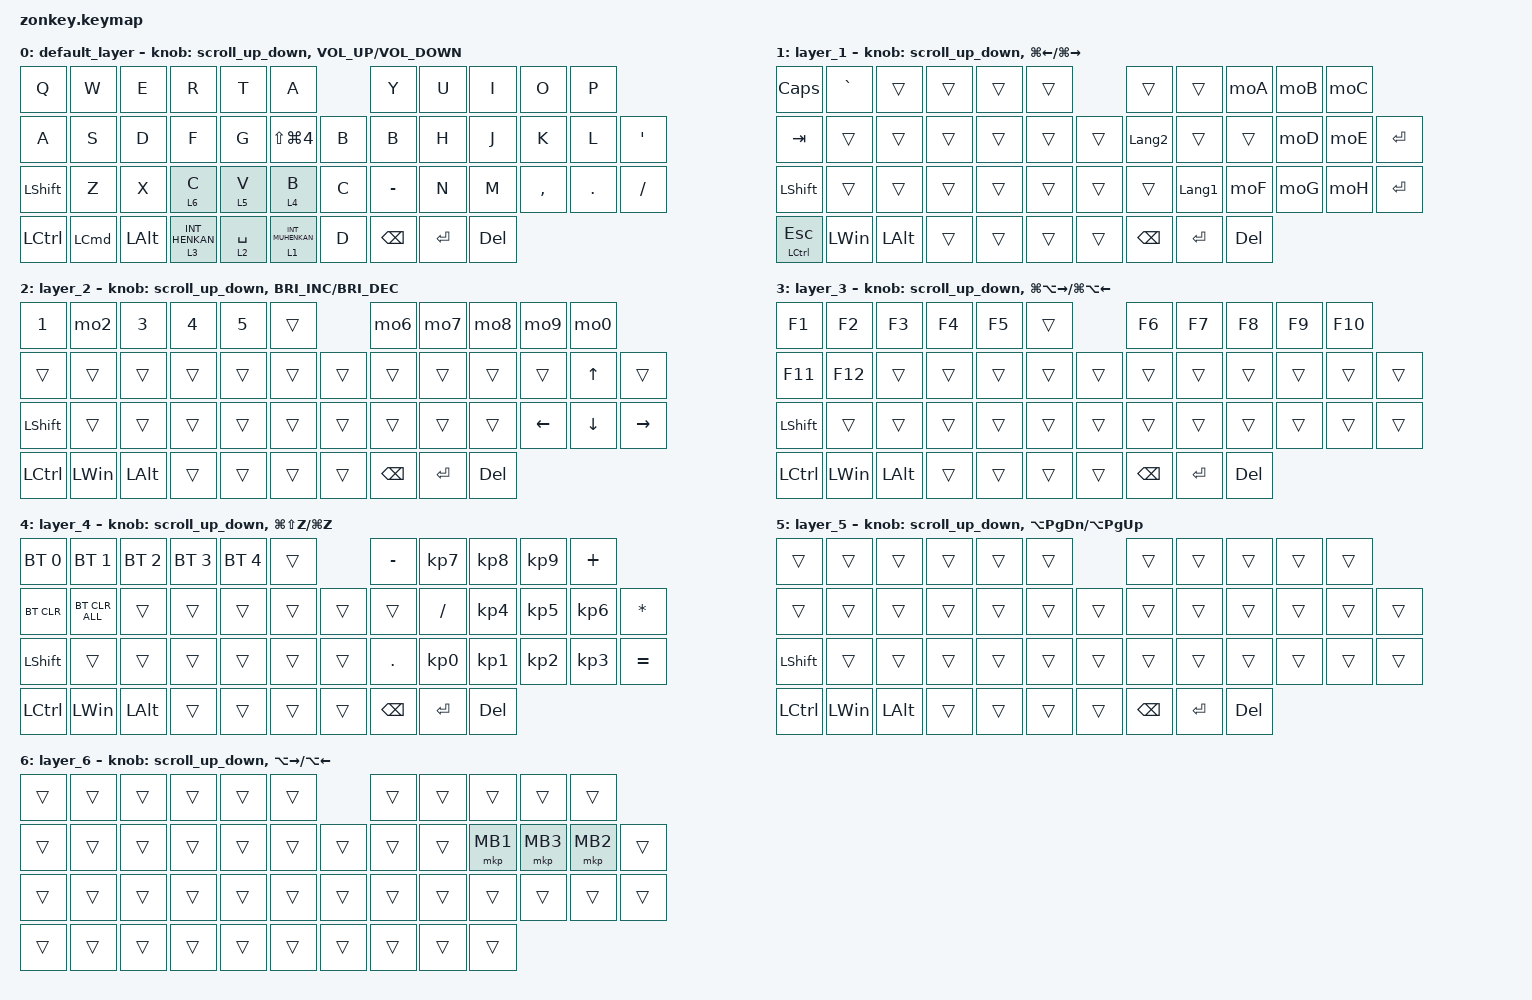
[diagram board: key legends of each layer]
#include <behaviors.dtsi>
#include <dt-bindings/zmk/bt.h>
#include <dt-bindings/zmk/keys.h>
#include <dt-bindings/zmk/pointing.h>

#define ZMK_POINTING_DEFAULT_SCRL_VAL 100
#define MOUSE 6
#define JP_DQUOTE       AT                // "
#define JP_AMPERSAND    CARET             // &
#define JP_QUOTE        AMPERSAND         // '
#define JP_EQUAL        UNDER             // =
#define JP_CARET        EQUAL             // ^
#define JP_YEN          0x89              // ¥
#define JP_PLUS         COLON             // +
#define JP_TILDE        PLUS              // ~
#define JP_PIPE         LS(0x89)          // |
#define JP_AT           LEFT_BRACKET      // @
#define JP_COLON        SINGLE_QUOTE      // :
#define JP_ASTERISK     DOUBLE_QUOTES     // *
#define JP_BACKQUOTE    LEFT_BRACE        // `
#define JP_UNDERSCORE   LS(0x87)          // _
#define JP_LBRACKET     RIGHT_BRACKET     // [
#define JP_RBRACKET     BACKSLASH         // ]
#define JP_LPAREN       ASTERISK          // (
#define JP_RPAREN       LEFT_PARENTHESIS  // )
#define JP_LBRACE       RIGHT_BRACE       // {
#define JP_RBRACE       PIPE              // }
#define JP_KANA         LANGUAGE_1        // かな
#define JP_EISU         LANGUAGE_2        // 英数
#define JP_HANZEN       GRAVE             // 半角/全角
#define JP_BSLH  INT1         // (backslash)

&mt {
    flavor = "balanced";
    quick-tap-ms = <0>;
};

/ {
    combos { compatible = "zmk,combos"; };

    mo2: mo2 {
        compatible = "zmk,behavior-mod-morph";
        #binding-cells = <0>;
        bindings = <&kp N2>, <&kp AT>;

        mods = <(MOD_LSFT|MOD_RSFT)>;
    };

    mo6: mo6 {
        compatible = "zmk,behavior-mod-morph";
        #binding-cells = <0>;
        bindings = <&kp N6>, <&kp CARET>;

        mods = <(MOD_LSFT|MOD_RSFT)>;
    };

    mo7: mo7 {
        compatible = "zmk,behavior-mod-morph";
        #binding-cells = <0>;
        bindings = <&kp N7>, <&kp AMPS>;

        mods = <(MOD_LSFT|MOD_RSFT)>;
    };

    mo8: mo8 {
        compatible = "zmk,behavior-mod-morph";
        #binding-cells = <0>;
        bindings = <&kp N8>, <&kp ASTRK>;

        mods = <(MOD_LSFT|MOD_RSFT)>;
    };

    mo9: mo9 {
        compatible = "zmk,behavior-mod-morph";
        #binding-cells = <0>;
        bindings = <&kp N9>, <&kp LPAR>;

        mods = <(MOD_LSFT|MOD_RSFT)>;
    };

    mo0: mo0 {
        compatible = "zmk,behavior-mod-morph";
        #binding-cells = <0>;
        bindings = <&kp N0>, <&kp LS(N9)>;

        mods = <(MOD_LSFT|MOD_RSFT)>;
    };

    moA: moA {
        compatible = "zmk,behavior-mod-morph";
        #binding-cells = <0>;
        bindings = <&kp MINUS>, <&kp UNDERSCORE>;

        mods = <(MOD_LSFT|MOD_RSFT)>;
    };

    moB: moB {
        compatible = "zmk,behavior-mod-morph";
        #binding-cells = <0>;
        bindings = <&kp EQUAL>, <&kp PLUS>;

        mods = <(MOD_LSFT|MOD_RSFT)>;
    };

    moC: moC {
        compatible = "zmk,behavior-mod-morph";
        #binding-cells = <0>;
        bindings = <&kp INT3>, <&kp JP_PIPE>;

        mods = <(MOD_LSFT|MOD_RSFT)>;
    };

    moD: moD {
        compatible = "zmk,behavior-mod-morph";
        #binding-cells = <0>;
        bindings = <&kp LBKT>, <&kp LBRC>;

        mods = <(MOD_LSFT|MOD_RSFT)>;
    };

    moE: moE {
        compatible = "zmk,behavior-mod-morph";
        #binding-cells = <0>;
        bindings = <&kp RBKT>, <&kp RBRC>;

        mods = <(MOD_LSFT|MOD_RSFT)>;
    };

    moF: moF {
        compatible = "zmk,behavior-mod-morph";
        #binding-cells = <0>;
        bindings = <&kp SEMI>, <&kp KP_PLUS>;

        mods = <(MOD_LSFT|MOD_RSFT)>;
    };

    moG: moG {
        compatible = "zmk,behavior-mod-morph";
        #binding-cells = <0>;
        bindings = <&kp APOSTROPHE>, <&kp DQT>;

        mods = <(MOD_LSFT|MOD_RSFT)>;
    };

    moH: moH {
        compatible = "zmk,behavior-mod-morph";
        #binding-cells = <0>;
        bindings = <&kp BACKSLASH>, <&kp TILDE2>;

        mods = <(MOD_LSFT|MOD_RSFT)>;
    };

    moI: moI {
        compatible = "zmk,behavior-mod-morph";
        #binding-cells = <0>;
        bindings = <&kp JP_BSLH>, <&kp JP_UNDERSCORE>;

        mods = <(MOD_LSFT|MOD_RSFT)>;
    };

    macros {
        to_layer_0: to_layer_0 {
            compatible = "zmk,behavior-macro-one-param";
            #binding-cells = <1>;
            bindings = <&to 0 &macro_param_1to1 &kp MACRO_PLACEHOLDER>;
            label = "TO_LAYER_0";
        };
    };

    behaviors {
        lt_to_layer_0: lt_to_layer_0 {
            compatible = "zmk,behavior-hold-tap";
            label = "LAYER_TAP_TO_0";
            bindings = <&mo>, <&to_layer_0>;

            #binding-cells = <2>;
            tapping-term-ms = <200>;
        };

        scroll_up_down: behavior_sensor_rotate_mouse_wheel_up_down {
            compatible = "zmk,behavior-sensor-rotate";
            #sensor-binding-cells = <0>;
            bindings = <&msc SCRL_DOWN>, <&msc SCRL_UP>;

            tap-ms = <20>;
        };
    };

    keymap {
        compatible = "zmk,keymap";

        default_layer {
            bindings = <
&kp Q           &kp W             &kp E         &kp R             &kp T        &kp A                        &kp Y          &kp U      &kp I    &kp O      &kp P
&kp A           &kp S             &kp D         &kp F             &kp G        &kp LS(LG(NUMBER_4))  &kp B  &kp B          &kp H      &kp J    &kp K      &kp L    &kp SQT
&kp LEFT_SHIFT  &kp Z             &kp X         &lt 6 C           &lt 5 V      &lt 4 B               &kp C  &kp MINUS      &kp N      &kp M    &kp COMMA  &kp DOT  &kp SLASH
&kp LCTRL       &kp LEFT_COMMAND  &kp LEFT_ALT  &lt 3 INT_HENKAN  &lt 2 SPACE  &lt 1 INT_MUHENKAN    &kp D  &kp BACKSPACE  &kp ENTER  &kp DEL
            >;

            sensor-bindings =
                <&scroll_up_down>,
                <&inc_dec_kp C_VOLUME_UP C_VOLUME_DOWN>;
        };

        layer_1 {
            // -----------------------------------------------------------------------------------------
            // |CAPS　| 　　|     |     |                    　　　　　　 |     |     |  -  |  ^  |  ¥  |
            // | TAB |     |     |     |     |     |              |    |     |     |     |  @  |  [  |
            // |SHIFT|     |     |     |     |     |           　 | 英数 | かな |    |  ; |  :  |  ]  |
            // | CTRL| WIN | ALT |HENKAN|SPACE|MUHENKAN|         | BS | ENT |                   | DEL |

            bindings = <
&kp CAPSLOCK    &kp GRAVE     &trans        &trans  &trans  &trans          &trans         &trans       &moA     &moB  &moC
&kp TAB         &trans        &trans        &trans  &trans  &trans  &trans  &kp JP_EISU    &trans       &trans   &moD  &moE  &kp ENTER
&kp LEFT_SHIFT  &trans        &trans        &trans  &trans  &trans  &trans  &trans         &kp JP_KANA  &moF     &moG  &moH  &kp ENTER
&mt LCTL ESC    &kp LEFT_WIN  &kp LEFT_ALT  &trans  &trans  &trans  &trans  &kp BACKSPACE  &kp ENTER    &kp DEL
            >;

            sensor-bindings =
                <&scroll_up_down>,
                <&inc_dec_kp LG(LEFT) LG(RIGHT)>;
        };

        layer_2 {
            // -----------------------------------------------------------------------------------------
            // |  1  |  2  |  3  |  4  |  5  |                     |  6  |  7  |  8  |  9  |   0  |
            // |      |     |     |     |     |     |           |    |     |     |     |  ↑  |      |
            // |SHIFT|     |     |     |     |     |           |     |     |     |  ←  |  ↓  |  →  |
            // | CTRL| WIN | ALT |HENKAN|SPACE|MUHENKAN|         | BS | ENT |                   | DEL |

            bindings = <
&kp N1          &mo2          &kp N3        &kp N4  &kp N5  &trans          &mo6           &mo7       &mo8     &mo9            &mo0
&trans          &trans        &trans        &trans  &trans  &trans  &trans  &trans         &trans     &trans   &trans          &kp UP_ARROW    &trans
&kp LEFT_SHIFT  &trans        &trans        &trans  &trans  &trans  &trans  &trans         &trans     &trans   &kp LEFT_ARROW  &kp DOWN_ARROW  &kp RIGHT_ARROW
&kp LCTRL       &kp LEFT_WIN  &kp LEFT_ALT  &trans  &trans  &trans  &trans  &kp BACKSPACE  &kp ENTER  &kp DEL
            >;

            sensor-bindings =
                <&scroll_up_down>,
                <&inc_dec_kp C_BRIGHTNESS_INC C_BRI_DEC>;
        };

        layer_3 {
            bindings = <
&kp F1          &kp F2        &kp F3        &kp F4  &kp F5  &trans          &kp F6         &kp F7     &kp F8   &kp F9  &kp F10
&kp F11         &kp F12       &trans        &trans  &trans  &trans  &trans  &trans         &trans     &trans   &trans  &trans   &trans
&kp LEFT_SHIFT  &trans        &trans        &trans  &trans  &trans  &trans  &trans         &trans     &trans   &trans  &trans   &trans
&kp LCTRL       &kp LEFT_WIN  &kp LEFT_ALT  &trans  &trans  &trans  &trans  &kp BACKSPACE  &kp ENTER  &kp DEL
            >;

            sensor-bindings =
                <&scroll_up_down>,
                <&inc_dec_kp LG(LA(RIGHT)) LG(LA(LEFT))>;
        };

        layer_4 {
            bindings = <
&bt BT_SEL 0    &bt BT_SEL 1    &bt BT_SEL 2  &bt BT_SEL 3  &bt BT_SEL 4  &trans          &kp MINUS      &kp KP_NUMBER_7  &kp KP_NUMBER_8  &kp KP_NUMBER_9  &kp PLUS
&bt BT_CLR      &bt BT_CLR_ALL  &trans        &trans        &trans        &trans  &trans  &trans         &kp SLASH        &kp KP_NUMBER_4  &kp KP_NUMBER_5  &kp KP_NUMBER_6  &kp ASTERISK
&kp LEFT_SHIFT  &trans          &trans        &trans        &trans        &trans  &trans  &kp DOT        &kp KP_NUMBER_0  &kp KP_NUMBER_1  &kp KP_NUMBER_2  &kp KP_NUMBER_3  &kp EQUAL
&kp LCTRL       &kp LEFT_WIN    &kp LEFT_ALT  &trans        &trans        &trans  &trans  &kp BACKSPACE  &kp ENTER        &kp DEL
            >;

            sensor-bindings = <&scroll_up_down>, <&inc_dec_kp LG(LS(Z)) LG(Z)>;
        };

        layer_5 {
            bindings = <
&trans          &trans        &trans        &trans  &trans  &trans          &trans         &trans     &trans   &trans  &trans
&trans          &trans        &trans        &trans  &trans  &trans  &trans  &trans         &trans     &trans   &trans  &trans  &trans
&kp LEFT_SHIFT  &trans        &trans        &trans  &trans  &trans  &trans  &trans         &trans     &trans   &trans  &trans  &trans
&kp LCTRL       &kp LEFT_WIN  &kp LEFT_ALT  &trans  &trans  &trans  &trans  &kp BACKSPACE  &kp ENTER  &kp DEL
            >;

            sensor-bindings =
                <&scroll_up_down>,
                <&inc_dec_kp LA(PG_DN) LA(PG_UP)>;
        };

        layer_6 {
            bindings = <
&trans  &trans  &trans  &trans  &trans  &trans          &trans  &trans  &trans    &trans    &trans
&trans  &trans  &trans  &trans  &trans  &trans  &trans  &trans  &trans  &mkp MB1  &mkp MB3  &mkp MB2  &trans
&trans  &trans  &trans  &trans  &trans  &trans  &trans  &trans  &trans  &trans    &trans    &trans    &trans
&trans  &trans  &trans  &trans  &trans  &trans  &trans  &trans  &trans  &trans
            >;

            sensor-bindings =
                <&scroll_up_down>,
                <&inc_dec_kp LA(RIGHT) LA(LEFT)>;
        };
    };
};
